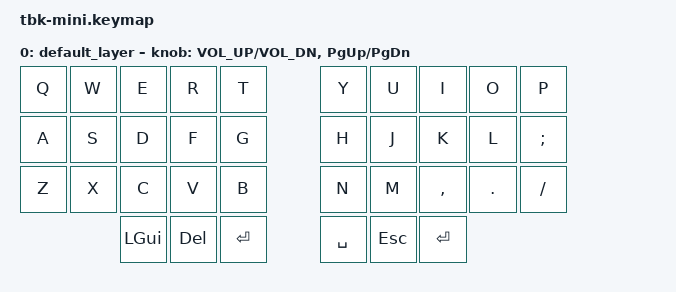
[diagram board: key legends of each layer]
#include <behaviors.dtsi>
#include <dt-bindings/zmk/keys.h>

/ {
    keymap {
        compatible = "zmk,keymap";

        default_layer {
            bindings = <
    &kp Q    &kp W    &kp E     &kp R     &kp T         &kp Y     &kp U     &kp I     &kp O     &kp P   
    &kp A    &kp S    &kp D     &kp F     &kp G         &kp H     &kp J     &kp K     &kp L     &kp SEMI
    &kp Z    &kp X    &kp C     &kp V     &kp B         &kp N     &kp M     &kp COMMA &kp DOT   &kp FSLH
                      &kp LGUI  &kp DEL   &kp RET       &kp SPACE &kp ESC   &kp RET
            >;
//&kp LC(A) &kp LC(C)    &kp LC(V) &kp LC(X)
            sensor-bindings = <&inc_dec_kp C_VOL_UP C_VOL_DN &inc_dec_kp PG_UP PG_DN>;
        };
    };
};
